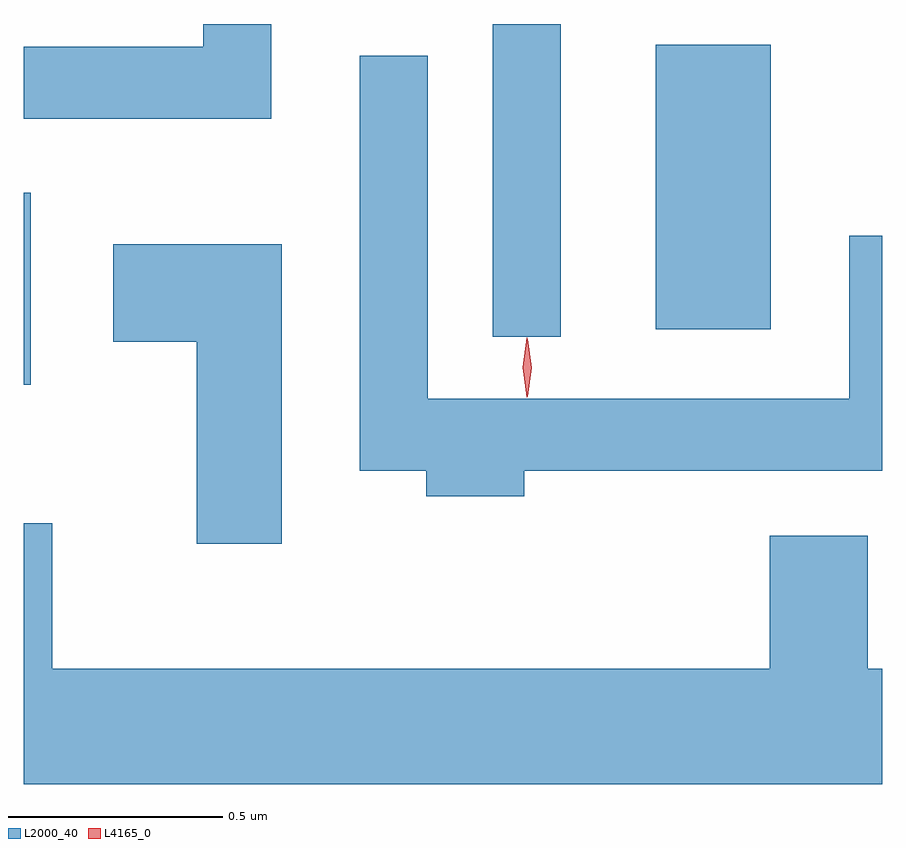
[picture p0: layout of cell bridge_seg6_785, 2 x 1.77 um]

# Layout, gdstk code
import gdstk
lib = gdstk.Library(unit=1e-6, precision=1e-09)
def R(c, l, rs):  # rectangles x0, y0, x1, y1
    for r in rs: c.add(gdstk.rectangle(r[:2], r[2:], *l))
def P(c, l, *ps):  # polygons
    for p in ps: c.add(gdstk.Polygon(p, *l))
L2000_40 = (2000, 40)
L4165_0 = (4165, 0)

bridge_seg6_785 = lib.new_cell('bridge_seg6_785')
R(bridge_seg6_785, L2000_40, [(418.393,1584.266,418.409,1584.714), (419.486,1584.378,419.644,1585.107), (419.866,1584.396,420.134,1585.059)])
P(bridge_seg6_785, L2000_40, [(418.969,1585.107),(418.811,1585.107),(418.811,1585.054),(418.393,1585.054),(418.393,1584.886),(418.969,1584.886)],
  [(419.559,1584.066),(420.393,1584.066),(420.393,1584.613),(420.316,1584.613),(420.316,1584.234),(419.334,1584.234),(419.334,1585.033),(419.176,1585.033),(419.176,1584.066),(419.331,1584.066),(419.331,1584.006),(419.559,1584.006)],
  [(418.994,1584.594),(418.601,1584.594),(418.601,1584.366),(418.796,1584.366),(418.796,1583.896),(418.994,1583.896)],
  [(420.393,1583.604),(420.359,1583.604),(420.359,1583.914),(420.131,1583.914),(420.131,1583.604),(418.459,1583.604),(418.459,1583.944),(418.393,1583.944),(418.393,1583.336),(420.393,1583.336)])
P(bridge_seg6_785, L4165_0, [(419.565,1584.237),(419.565,1584.237),(419.555,1584.307),(419.565,1584.376),(419.565,1584.376),(419.566,1584.376),(419.575,1584.307),(419.566,1584.237)],
  [(419.566,1584.239),(419.566,1584.24),(419.556,1584.306),(419.566,1584.372),(419.566,1584.373),(419.567,1584.372),(419.576,1584.306),(419.567,1584.24)])

lib.write_gds('bridge_seg6_785.gds')
